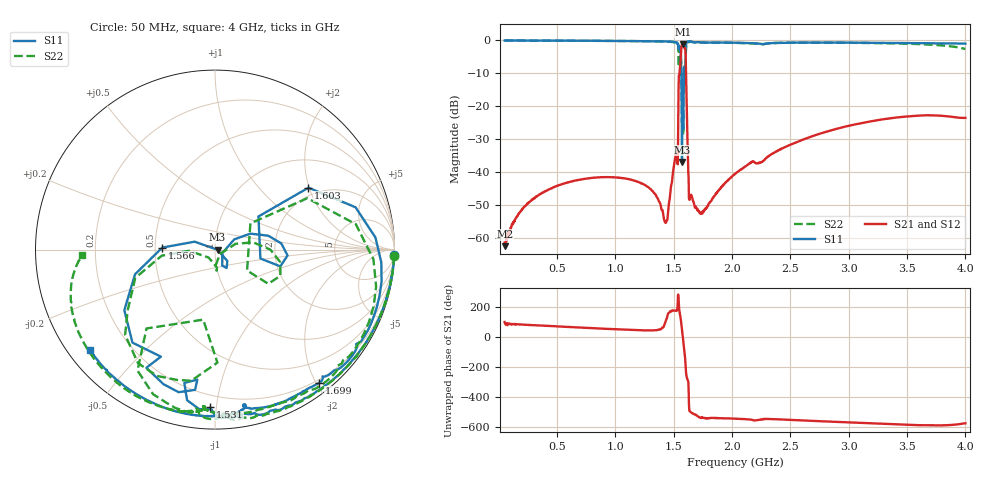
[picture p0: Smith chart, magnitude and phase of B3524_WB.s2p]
! Matrix data file written by TouchstoneData, EPCOS AG
! FILENAME: "B3524_WB.s2p"
! COMMENT: "(LU77C1_3_WB.s2p) EPCOS AG 11.03.10 17:14:47"
! INFO: nport=2, nfreq=1601
! DATE: "Tue Apr  6 13:00:43 2010"
! USER: "Sergey Rostovtsev"
! port | pin | signal
!  1  |  1  |  in
!  2  |  3  |  out
# MHZ S MA R 50
! freq  magS11 angS11  magS21 angS21  magS12 angS12  magS22 angS22
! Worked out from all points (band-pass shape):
!   1601 points, 50 MHz to 4 GHz, reference 50 ohm
!   highest |S21| = -1.09 dB at 1.581 GHz (marker M1); lowest = -62.5 dB at 52.47 MHz (marker M2)
!   |S21| within 3 dB of the highest: 1.562 GHz to 1.601 GHz (39.57 MHz wide, 2.5 % of centre)
!   lowest |S11| = -37.0 dB at 1.571 GHz (marker M3), VSWR 1.03, Z = 51.4 - j0.117 ohm
!   |S11| at or under -10 dB: 1.565 GHz to 1.588 GHz (23.03 MHz wide, 1.46 % of centre); 1.596573 GHz to 1.600507 GHz (3.934 MHz wide, 0.246 % of centre)
!   |S22| runs from -28.7 to 0.0 dB; largest |S21 - S12| = 0.0011
!   S11 on the Smith chart (normalised r, x): 50 MHz: 5, -61; 1.531 GHz: 0.12, -0.96; 1.566 GHz: 0.55, +0.01; 1.603 GHz: 1.75, +1.98; 1.699 GHz: 0.16, -2.05; 4 GHz: 0.06, -0.35
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50  0.9971 -1.9  0.0008463 98.6  0.0008892 93.0  0.997 -2.2
52.46875  0.9984 -2.1  0.0007476 88.4  0.000747 88.0  0.9981 -2.4
272.1875  0.9952 -10.5  0.003616 78.6  0.0036 78.6  0.9956 -12.2
709.1562  0.9891 -27.5  0.007745 61.0  0.007747 61.0  0.988 -32.1
1143.656  0.9803 -45.4  0.007574 45.1  0.007578 45.2  0.9774 -52.8
1368.312  0.9717 -57.4  0.003757 46.3  0.003739 46.0  0.9661 -66.9
1439.906  0.963 -64.4  0.00182 121.8  0.001819 121.6  0.9626 -74.0
1516.438  0.9295 -80.4  0.01796 174.4  0.01798 174.3  0.9404 -93.2
1531.25  0.8787 -91.8  0.01579 -173.3  0.01578 -173.3  0.9096 -104.0
1546.062  0.7894 -98.1  0.3 -172.6  0.2998 -172.6  0.6299 -88.8
1565.812  0.2936 177.8  0.7873 79.7  0.7871 79.6  0.2986 -173.5
1570.75  0.01416 -4.6  0.8678 42.6  0.8672 42.6  0.05668 -127.8
1580.625  0.04509 -25.7  0.8816 -21.8  0.8814 -21.8  0.03664 -42.2
1590.5  0.3706 5.4  0.7699 -86.8  0.7697 -86.9  0.3699 -10.8
1602.844  0.6246 33.5  0.5024 146.1  0.5024 146.1  0.5892 29.1
1625.062  0.9633 -28.1  0.009666 54.9  0.009671 55.0  0.9551 -38.6
1639.875  0.9657 -37.5  0.004264 -138.1  0.004271 -138.3  0.9607 -48.0
1699.125  0.942 -51.8  0.002777 -166.1  0.002784 -166.1  0.94 -63.2
2025  0.9227 -71.6  0.009349 173.9  0.009337 173.9  0.9195 -84.9
2684.156  0.9295 -95.0  0.03487 159.4  0.03495 159.5  0.9263 -112.5
3343.312  0.9166 -118.6  0.06509 137.5  0.06506 137.4  0.9044 -140.0
4000  0.8923 -141.3  0.06659 143.1  0.0663 144.0  0.7417 -177.5
